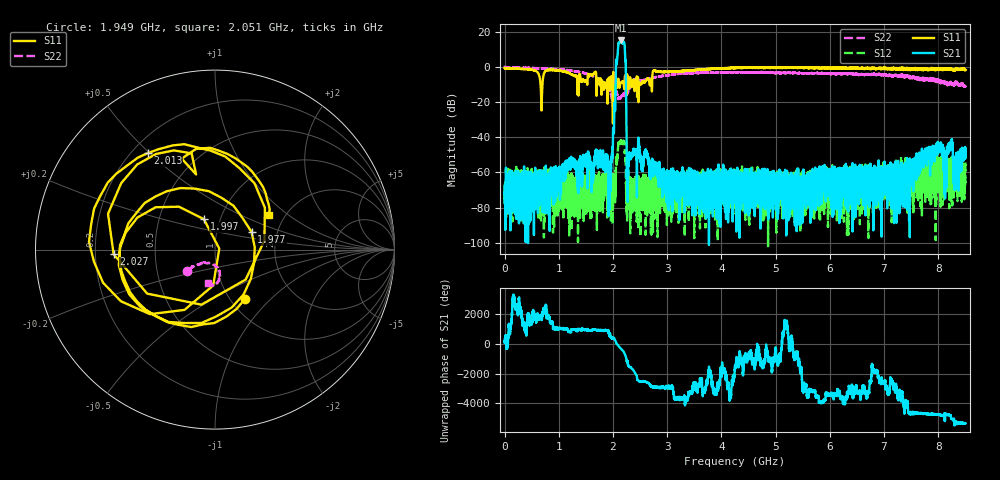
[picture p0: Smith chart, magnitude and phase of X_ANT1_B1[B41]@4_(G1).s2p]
#  HZ  S  RI  R  50.00
! Rohde & Schwarz Vector Network Analyzer
! Rohde-Schwarz,ZNBT8-20Port,1318700624101681,3.50
! Created: UTC 7/15/2025, 2:11:28 PM
! freq[Hz]  re:S1010  im:S1010  re:S0410  im:S0410  re:S1004  im:S1004  re:S44  im:S44
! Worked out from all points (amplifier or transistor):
!   8500 points, 1 MHz to 8.5 GHz, reference 50 ohm
!   highest |S21| = 14.9 dB at 2.143 GHz (marker M1)
!   |S21| within 3 dB of that: 2.095 GHz to 2.215 GHz (120.1 MHz wide, 5.57 % of centre)
!   unconditionally stable (mu >= 1): start of sweep to end of sweep
!   at 1.417 GHz: K = 343901.35, MAG = -54.2 dB, |S12| = -66.0 dB
!   at 4.251 GHz: K = 314833.95, MAG = -57.3 dB, |S12| = -70.3 dB
!   at 8.5 GHz: K = 15362.50, MAG = -42.4 dB, |S12| = -52.2 dB
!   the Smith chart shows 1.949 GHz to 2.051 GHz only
!   S11 on the Smith chart (normalised r, x): 1.949 GHz: 1.17, -0.71; 1.977 GHz: 1.47, +0.31; 1.997 GHz: 0.84, +0.29; 2.013 GHz: 0.26, +0.49; 2.027 GHz: 0.28, -0.02; 2.051 GHz: 1.65, +0.73
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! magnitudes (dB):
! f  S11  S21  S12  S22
! 1 MHz  -0.8  -77.0  -73.1  -0.3
! 1.418 GHz  -8.4  -58.3  -69.0  -3.3
! 1.949 GHz  -9.9  -57.1  -70.4  -14.2
! 1.977 GHz  -12.9  -51.7  -66.6  -17.9
! 1.997 GHz  -14.8  -44.9  -70.9  -21.8
! 2.013 GHz  -3.7  -36.9  -69.8  -19.5
! 2.027 GHz  -5.0  -20.4  -70.4  -15.8
! 2.051 GHz  -9.0  -6.6  -60.3  -14.5
! 2.093 GHz  -7.2  11.2  -45.7  -17.8
! 2.143 GHz  -9.0  14.9  -41.7  -17.2
! 2.205 GHz  -12.1  13.6  -43.3  -15.3
! 2.292 GHz  -11.2  -51.0  -68.8  -13.5
! 2.453 GHz  -6.5  -51.3  -70.5  -7.5
! 2.834 GHz  -2.8  -60.5  -76.7  -5.6
! 4.251 GHz  -0.6  -69.0  -70.3  -3.2
! 5.667 GHz  -0.3  -61.3  -65.4  -3.5
! 7.084 GHz  -0.9  -65.1  -68.0  -4.8
! 7.806 GHz  -1.6  -46.4  -62.9  -6.9
! 8.125 GHz  -0.9  -52.2  -61.3  -9.3
! 8.225 GHz  -1.2  -44.2  -58.1  -9.0
! 8.32 GHz  -1.4  -58.9  -61.6  -9.4
! 8.5 GHz  -1.9  -47.2  -52.2  -11.1
